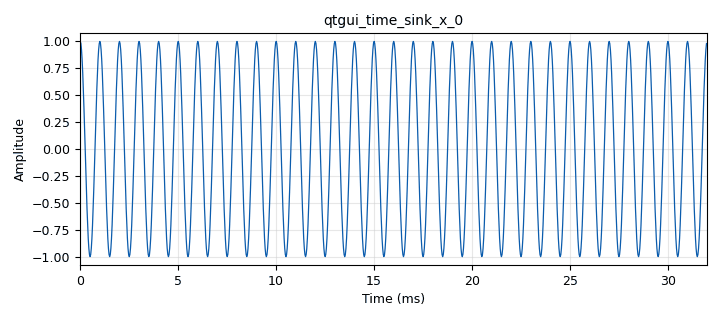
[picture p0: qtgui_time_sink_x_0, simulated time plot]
options:
  parameters:
    generate_options: qt_gui
    id: embeddedPythonBlockTagTest
    output_language: python
    title: Embedded Python Block Tag Test
  states: {}

blocks:
- name: samp_rate
  id: variable
  parameters:
    value: 32e3
  states: {}
- name: analog_sig_source_x_0
  id: analog_sig_source_x
  parameters:
    amp: '1'
    freq: '1000'
    offset: '0'
    phase: '0'
    samp_rate: samp_rate
    type: float
    waveform: analog.GR_COS_WAVE
  states: {}
- name: blocks_throttle_0
  id: blocks_throttle
  parameters:
    samples_per_second: samp_rate
    type: float
  states: {}
- name: epy_block_0
  id: epy_block
  parameters:
    _source_code: |-
      import numpy as np
      from gnuradio import gr
      import pmt

      class blk(gr.sync_block):
          def __init__(self):

              self.valueCounter = 0 # Initial value for the tag
              gr.sync_block.__init__(
                  self,
                  name='Tagger',
                  in_sig=[np.float32],
                  out_sig=[np.float32],  
              )
              

          def work(self, input_items, output_items):
              for indx, sample in enumerate(input_items[0]): # Enumerate through the input samples in port in0
                  if np.random.rand() > 0.999: # 0.1% chance this sample is chosen
                      key = pmt.intern("example_key")
                      #value = pmt.intern("example_value")
                      value = pmt.to_pmt(self.valueCounter)
                      self.valueCounter = self.valueCounter + 1
                      self.add_item_tag(0, # Write to output port 0
                              self.nitems_written(0) + indx, # Index of the tag in absolute terms
                              key, # Key of the tag
                              value # Value of the tag
                      )
                      # note: (self.nitems_written(0) + indx) is our current sample, in absolute time
              output_items[0][:] = input_items[0] # copy input to output
              return len(output_items[0])
  states: {}
- name: epy_block_1
  id: epy_block
  parameters:
    _source_code: |-
      import numpy as np
      from gnuradio import gr
      import pmt

      class blk(gr.sync_block):
          def __init__(self):
              gr.sync_block.__init__(self,name='Read Tags', in_sig=[np.float32], out_sig=None)

          def work(self, input_items, output_items):
              tags = self.get_tags_in_window(0, # which input
              0, # relative start
              len(input_items[0]) # relative end
              )
              for tag in tags:
                  key = pmt.to_python(tag.key) # convert from PMT to python string
                  value = pmt.to_python(tag.value) # Note that the type(value) can be several things, it depends what PMT type it was
                  print ('key:', key)
                  print ('value:', value, type(value))
                  print ('')
              return len(input_items[0])
  states: {}
- name: qtgui_time_sink_x_0
  id: qtgui_time_sink_x
  parameters:
    size: '1024'
    srate: samp_rate
    type: float
  states: {}

connections:
- [analog_sig_source_x_0, '0', blocks_throttle_0, '0']
- [blocks_throttle_0, '0', epy_block_0, '0']
- [epy_block_0, '0', epy_block_1, '0']
- [epy_block_0, '0', qtgui_time_sink_x_0, '0']

metadata:
  file_format: 1
